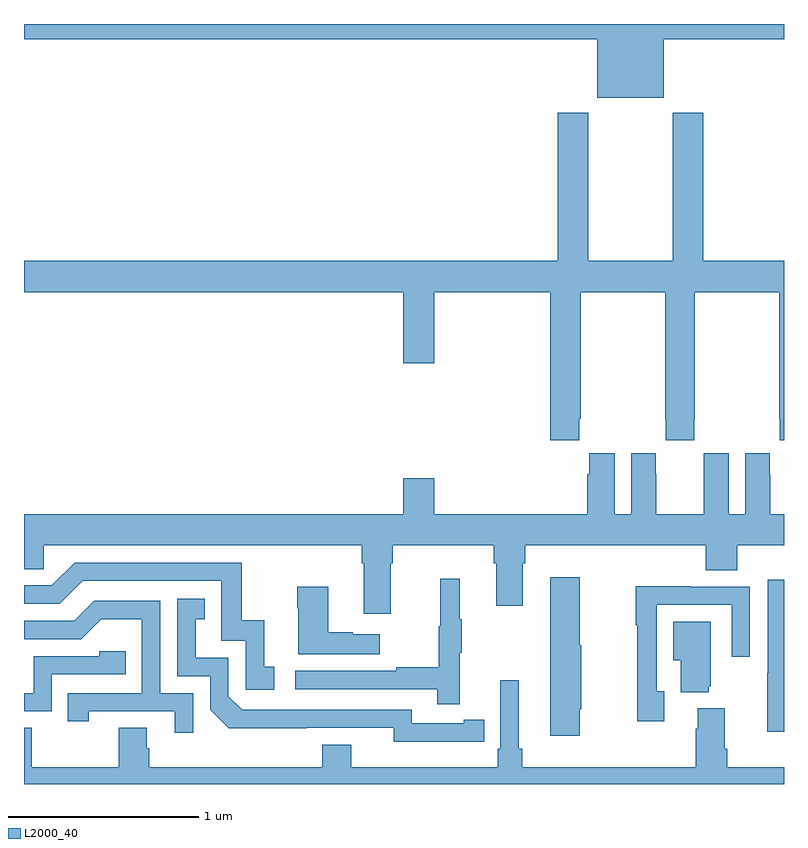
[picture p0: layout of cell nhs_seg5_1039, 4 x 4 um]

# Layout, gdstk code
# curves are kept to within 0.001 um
import gdstk
lib = gdstk.Library(unit=1e-6, precision=1e-09)
def P(c, l, *ps):  # polygons
    for p in ps: c.add(gdstk.Polygon(p, *l))
L2000_40 = (2000, 40)

nhs_seg5_1039 = lib.new_cell('nhs_seg5_1039')
P(nhs_seg5_1039, L2000_40, [(178.366,896.72),(179,896.72),(179,896.799),(175,896.799),(175,896.72),(178.016,896.72),(178.016,896.411),(178.366,896.411)],
  [(177.923,894.721),(177.93,894.721),(177.93,895.388),(178.375,895.388),(178.375,894.721),(178.377,894.721),(178.377,894.609),(178.527,894.609),(178.527,894.721),(178.53,894.721),(178.53,895.388),(178.975,895.388),(178.975,894.721),(178.977,894.721),(178.977,894.609),(179,894.609),(179,895.552),(178.574,895.552),(178.574,896.332),(178.414,896.332),(178.414,895.552),(177.969,895.552),(177.969,896.332),(177.809,896.332),(177.809,895.552),(175,895.552),(175,895.388),(176.996,895.388),(176.996,895.014),(177.16,895.014),(177.16,895.388),(177.77,895.388),(177.77,894.609),(177.923,894.609)],
  [(175,893.929),(175.104,893.929),(175.104,894.056),(176.777,894.056),(176.777,893.96),(176.789,893.96),(176.789,893.694),(176.929,893.694),(176.929,893.96),(176.942,893.96),(176.942,894.056),(177.473,894.056),(177.473,893.96),(177.485,893.96),(177.485,893.736),(177.625,893.736),(177.625,893.96),(177.638,893.96),(177.638,894.056),(178.589,894.056),(178.589,893.923),(178.754,893.923),(178.754,894.056),(179,894.056),(179,894.22),(178.927,894.22),(178.927,894.428),(178.926,894.428),(178.926,894.541),(178.796,894.541),(178.796,894.22),(178.708,894.22),(178.708,894.541),(178.578,894.541),(178.578,894.428),(178.577,894.428),(178.577,894.22),(178.327,894.22),(178.327,894.428),(178.326,894.428),(178.326,894.541),(178.196,894.541),(178.196,894.22),(178.108,894.22),(178.108,894.541),(177.974,894.541),(177.974,894.428),(177.965,894.428),(177.965,894.22),(177.16,894.22),(177.16,894.409),(176.996,894.409),(176.996,894.22),(175,894.22)],
  [(176.317,893.415),(176.264,893.415),(176.264,893.662),(176.146,893.662),(176.146,893.964),(175.266,893.964),(175.146,893.844),(175,893.844),(175,893.748),(175.188,893.748),(175.308,893.868),(176.037,893.868),(176.037,893.553),(176.166,893.553),(176.166,893.295),(176.317,893.295)],
  [(177.924,893.193),(177.934,893.193),(177.934,893.529),(177.924,893.529),(177.924,893.887),(177.77,893.887),(177.77,893.052),(177.924,893.052)],
  [(177.293,893.491),(177.304,893.491),(177.304,893.665),(177.293,893.665),(177.293,893.878),(177.19,893.878),(177.19,893.628),(177.183,893.628),(177.183,893.414),(176.959,893.414),(176.959,893.394),(176.427,893.394),(176.427,893.298),(177.175,893.298),(177.175,893.22),(177.293,893.22)],
  [(179,893.875),(178.914,893.875),(178.914,893.381),(178.912,893.381),(178.912,893.075),(179,893.075)],
  [(178.369,893.286),(178.329,893.286),(178.329,893.742),(178.725,893.742),(178.725,893.469),(178.821,893.469),(178.821,893.838),(178.505,893.838),(178.505,893.84),(178.221,893.84),(178.221,893.635),(178.228,893.635),(178.228,893.13),(178.369,893.13)],
  [(176.872,893.587),(176.729,893.587),(176.729,893.597),(176.602,893.597),(176.602,893.836),(176.437,893.836),(176.437,893.723),(176.444,893.723),(176.444,893.483),(176.872,893.483)],
  [(177.314,893.022),(177.422,893.022),(177.422,893.138),(177.314,893.138),(177.314,893.118),(177.042,893.118),(177.042,893.19),(176.148,893.19),(176.076,893.262),(176.076,893.463),(175.903,893.463),(175.903,893.667),(175.952,893.667),(175.952,893.773),(175.806,893.773),(175.806,893.367),(175.98,893.367),(175.98,893.19),(176.078,893.093),(176.946,893.094),(176.946,893.021)],
  [(175.89,893.277),(175.716,893.277),(175.716,893.763),(175.37,893.763),(175.265,893.658),(175,893.658),(175,893.562),(175.302,893.562),(175.406,893.666),(175.62,893.666),(175.62,893.277),(175.231,893.277),(175.231,893.13),(175.342,893.13),(175.342,893.181),(175.793,893.181),(175.793,893.07),(175.89,893.07)],
  [(178.604,893.313),(178.615,893.313),(178.615,893.653),(178.418,893.653),(178.418,893.45),(178.457,893.45),(178.457,893.282),(178.604,893.282)],
  [(175.146,893.376),(175.535,893.376),(175.535,893.499),(175.395,893.499),(175.395,893.472),(175.05,893.472),(175.05,893.277),(175,893.277),(175,893.181),(175.146,893.181)],
  [(179,892.888),(178.7,892.888),(178.7,892.984),(178.687,892.984),(178.687,893.197),(178.547,893.197),(178.547,893.09),(178.535,893.09),(178.535,892.888),(177.623,892.888),(177.623,892.984),(177.604,892.984),(177.604,893.344),(177.507,893.344),(177.507,892.984),(177.494,892.984),(177.494,892.888),(176.722,892.888),(176.722,893.005),(176.57,893.005),(176.57,892.888),(175.658,892.888),(175.658,892.986),(175.645,892.986),(175.645,893.096),(175.498,893.096),(175.498,892.888),(175.041,892.888),(175.041,893.096),(175,893.096),(175,892.799),(179,892.799)])

lib.write_gds('nhs_seg5_1039.gds')
